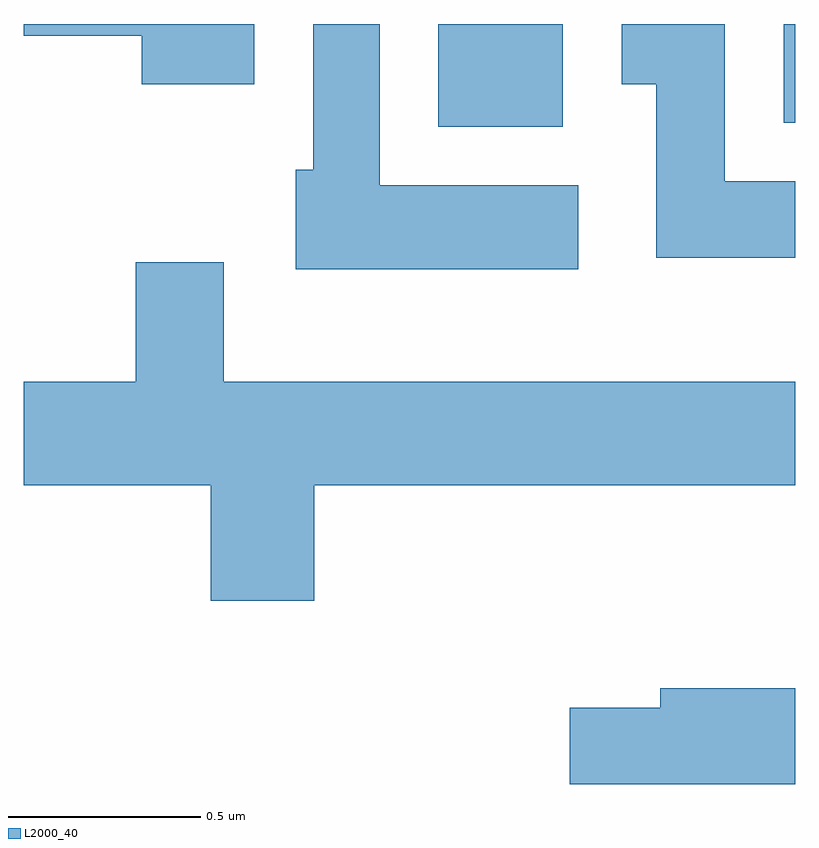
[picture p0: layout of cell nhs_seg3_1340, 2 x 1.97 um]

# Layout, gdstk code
import gdstk
lib = gdstk.Library(unit=1e-6, precision=1e-09)
def R(c, l, rs):  # rectangles x0, y0, x1, y1
    for r in rs: c.add(gdstk.rectangle(r[:2], r[2:], *l))
def P(c, l, *ps):  # polygons
    for p in ps: c.add(gdstk.Polygon(p, *l))
L2000_40 = (2000, 40)

nhs_seg3_1340 = lib.new_cell('nhs_seg3_1340')
R(nhs_seg3_1340, L2000_40, [(195.686,1224.626,196.009,1224.892), (196.581,1224.636,196.611,1224.892)])
P(nhs_seg3_1340, L2000_40, [(196.049,1224.474),(195.534,1224.474),(195.534,1224.892),(195.361,1224.892),(195.361,1224.514),(195.316,1224.514),(195.316,1224.256),(196.049,1224.256)],
  [(195.209,1224.892),(194.611,1224.892),(194.611,1224.861),(194.916,1224.861),(194.916,1224.736),(195.209,1224.736)],
  [(196.611,1224.484),(196.429,1224.484),(196.429,1224.892),(196.161,1224.892),(196.161,1224.736),(196.251,1224.736),(196.251,1224.286),(196.611,1224.286)],
  [(195.364,1223.696),(196.611,1223.696),(196.611,1223.964),(195.129,1223.964),(195.129,1224.274),(194.901,1224.274),(194.901,1223.964),(194.611,1223.964),(194.611,1223.696),(195.096,1223.696),(195.096,1223.396),(195.364,1223.396)],
  [(196.611,1223.169),(196.261,1223.169),(196.261,1223.119),(196.026,1223.119),(196.026,1222.921),(196.611,1222.921)])

lib.write_gds('nhs_seg3_1340.gds')
